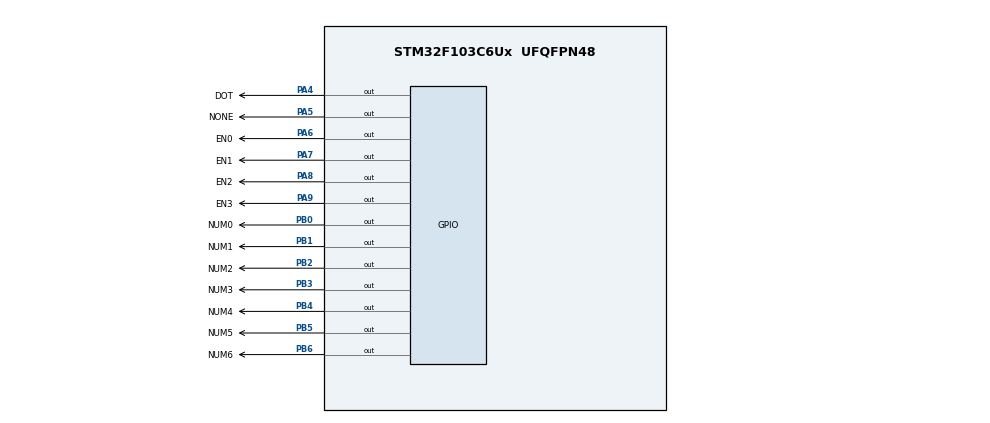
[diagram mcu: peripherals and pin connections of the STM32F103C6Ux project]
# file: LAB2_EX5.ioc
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Mcu.Family=STM32F1
Mcu.Name=STM32F103C6Ux
Mcu.Package=UFQFPN48
NVIC.PriorityGroup=NVIC_PRIORITYGROUP_4
NVIC.TIM2_IRQn=true\:0\:0\:false\:false\:true\:true\:true
PA4.GPIO_Label=DOT
PA4.Signal=GPIO_Output
PA5.GPIO_Label=NONE
PA5.Signal=GPIO_Output
PA6.GPIO_Label=EN0
PA6.Signal=GPIO_Output
PA7.GPIO_Label=EN1
PA7.Signal=GPIO_Output
PA8.GPIO_Label=EN2
PA8.Signal=GPIO_Output
PA9.GPIO_Label=EN3
PA9.Signal=GPIO_Output
PB0.GPIO_Label=NUM0
PB0.Signal=GPIO_Output
PB1.GPIO_Label=NUM1
PB1.Signal=GPIO_Output
PB2.GPIO_Label=NUM2
PB2.Signal=GPIO_Output
PB3.GPIO_Label=NUM3
PB3.Signal=GPIO_Output
PB4.GPIO_Label=NUM4
PB4.Signal=GPIO_Output
PB5.GPIO_Label=NUM5
PB5.Signal=GPIO_Output
PB6.GPIO_Label=NUM6
PB6.Signal=GPIO_Output
ProjectManager.HeapSize=0x200
ProjectManager.StackSize=0x400
ProjectManager.TargetToolchain=STM32CubeIDE
RCC.APB1Freq_Value=8000000
RCC.APB2Freq_Value=8000000
TIM2.Period=9
TIM2.Prescaler=7999
VP_SYS_VS_ND.Mode=No_Debug
VP_TIM2_VS_ClockSourceINT.Mode=Internal
board=custom

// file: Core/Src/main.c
/* USER CODE BEGIN Header */
/**
  ******************************************************************************
  * @file           : main.c
  * @brief          : Main program body
  ******************************************************************************
  * @attention
  *
  * <h2><center>&copy; Copyright (c) 2025 STMicroelectronics.
  * All rights reserved.</center></h2>
  *
  * This software component is licensed by ST under BSD 3-Clause license,
  * the "License"; You may not use this file except in compliance with the
  * License. You may obtain a copy of the License at:
  *                        opensource.org/licenses/BSD-3-Clause
  *
  ******************************************************************************
  */
/* USER CODE END Header */
#include "main.h"

/* USER CODE BEGIN PTD */
# define BLINKY_TIME 100
static uint8_t led_blinky = BLINKY_TIME ;
/* USER CODE END PTD */

TIM_HandleTypeDef htim2;

int hour = 23;
int min  = 59;
int second = 55;

// Biến đếm để quét LED 7 đoạn (đổi LED mỗi 500ms)
int state = 0;

// Bộ đếm cho Timer 2 (nếu bạn muốn dùng cho delay khác)
int timer2_counter = 0;

// Biến tần số cho clock hiển thị (nạp lại mỗi lần hết)
#define CLOCK_FREQ 50   // 50 * 10ms = 500ms nếu timer gọi mỗi 10ms
int clock_freq = CLOCK_FREQ;

void SystemClock_Config(void);
static void MX_TIM2_Init(void);
static void MX_GPIO_Init(void);

/* USER CODE BEGIN 0 */

const int MAX_LED = 4;
int index_led = 0;
int led_buffer[4] = {1, 2, 3, 4};

void updateClockBuffer(void ){
led_buffer [0] = min % 10;
led_buffer [1] = min / 10;
led_buffer [2] = hour % 10;
led_buffer [3] = hour / 10;
}

void display7SEG(int num) {

	HAL_GPIO_WritePin (GPIOB , NUM0_Pin | NUM1_Pin | NUM2_Pin| NUM3_Pin | NUM4_Pin | NUM5_Pin | NUM6_Pin , SET );

    switch (num) {
        case 0:
            HAL_GPIO_WritePin(GPIOB, NUM0_Pin|NUM1_Pin|NUM2_Pin|NUM3_Pin|NUM4_Pin|NUM5_Pin, GPIO_PIN_RESET);
            HAL_GPIO_WritePin(GPIOB, NUM6_Pin, GPIO_PIN_SET);
            break;
        case 1:
            HAL_GPIO_WritePin(GPIOB, NUM0_Pin, GPIO_PIN_SET);
            HAL_GPIO_WritePin(GPIOB, NUM1_Pin|NUM2_Pin, GPIO_PIN_RESET);
            HAL_GPIO_WritePin(GPIOB, NUM3_Pin|NUM4_Pin|NUM5_Pin|NUM6_Pin, GPIO_PIN_SET);
            break;
        case 2:
            HAL_GPIO_WritePin(GPIOB, NUM0_Pin|NUM1_Pin|NUM3_Pin|NUM4_Pin|NUM6_Pin, GPIO_PIN_RESET);
            HAL_GPIO_WritePin(GPIOB, NUM2_Pin|NUM5_Pin, GPIO_PIN_SET);
            break;
        case 3:
            HAL_GPIO_WritePin(GPIOB, NUM0_Pin|NUM1_Pin|NUM2_Pin|NUM3_Pin|NUM6_Pin, GPIO_PIN_RESET);
            HAL_GPIO_WritePin(GPIOB, NUM4_Pin|NUM5_Pin, GPIO_PIN_SET);
            break;
        case 4:
            HAL_GPIO_WritePin(GPIOB, NUM1_Pin|NUM2_Pin|NUM5_Pin|NUM6_Pin, GPIO_PIN_RESET);
            HAL_GPIO_WritePin(GPIOB, NUM0_Pin|NUM3_Pin|NUM4_Pin, GPIO_PIN_SET);
            break;
        case 5:
            HAL_GPIO_WritePin(GPIOB, NUM0_Pin|NUM2_Pin|NUM3_Pin|NUM5_Pin|NUM6_Pin, GPIO_PIN_RESET);
            HAL_GPIO_WritePin(GPIOB, NUM1_Pin|NUM4_Pin, GPIO_PIN_SET);
            break;
        case 6:
            HAL_GPIO_WritePin(GPIOB, NUM0_Pin|NUM2_Pin|NUM3_Pin|NUM4_Pin|NUM5_Pin|NUM6_Pin, GPIO_PIN_RESET);
            HAL_GPIO_WritePin(GPIOB, NUM1_Pin, GPIO_PIN_SET);
            break;
        case 7:
            HAL_GPIO_WritePin(GPIOB, NUM0_Pin|NUM1_Pin|NUM2_Pin, GPIO_PIN_RESET);
            HAL_GPIO_WritePin(GPIOB, NUM3_Pin|NUM4_Pin|NUM5_Pin|NUM6_Pin, GPIO_PIN_SET);
            break;
        case 8:
            HAL_GPIO_WritePin(GPIOB, NUM0_Pin|NUM1_Pin|NUM2_Pin|NUM3_Pin|NUM4_Pin|NUM5_Pin|NUM6_Pin, GPIO_PIN_RESET);
            break;
        case 9:
            HAL_GPIO_WritePin(GPIOB, NUM0_Pin|NUM1_Pin|NUM2_Pin|NUM3_Pin|NUM5_Pin|NUM6_Pin, GPIO_PIN_RESET);
            HAL_GPIO_WritePin(GPIOB, NUM4_Pin, GPIO_PIN_SET);
            break;
        default:
            break;
    }
}

void update7SEG(int index) {
    switch (index) {
        case 0:
            display7SEG(led_buffer[3]);
            HAL_GPIO_WritePin(GPIOA, EN0_Pin, RESET);
            HAL_GPIO_WritePin(GPIOA, EN1_Pin | EN2_Pin | EN3_Pin, SET);
            break;

        case 1:
            display7SEG(led_buffer[2]);
            HAL_GPIO_WritePin(GPIOA, EN1_Pin, RESET);
            HAL_GPIO_WritePin(GPIOA, EN0_Pin | EN2_Pin | EN3_Pin, SET);
            break;

        case 2:
            display7SEG(led_buffer[1]);
            HAL_GPIO_WritePin(GPIOA, EN2_Pin, RESET);
            HAL_GPIO_WritePin(GPIOA, EN0_Pin | EN1_Pin | EN3_Pin, SET);
            break;

        case 3:
            display7SEG(led_buffer[0]);
            HAL_GPIO_WritePin(GPIOA, EN3_Pin, RESET);
            HAL_GPIO_WritePin(GPIOA, EN0_Pin | EN1_Pin | EN2_Pin, SET);
            break;
    }
}

void setTimer2(int duration) {
    timer2_counter = duration;
}

	void blinkLed(void) {
	    led_blinky--;
	    if (led_blinky <= 0) {
	        led_blinky = BLINKY_TIME;
	        HAL_GPIO_TogglePin(GPIOA, DOT_Pin);
	    }
	}

/* USER CODE END 0 */

int main(void)
{

  /* MCU Configuration--------------------------------------------------------*/

  /* Reset of all peripherals, Initializes the Flash interface and the Systick. */
  HAL_Init();

  /* Configure the system clock */
  SystemClock_Config();

  /* Initialize all configured peripherals */
  MX_TIM2_Init();
  MX_GPIO_Init();
  /* USER CODE BEGIN 2 */
  HAL_TIM_Base_Start_IT(&htim2 );
  setTimer2(50);
  /* USER CODE END 2 */

  /* Infinite loop */
  /* USER CODE BEGIN WHILE */
  updateClockBuffer();
  while (1)
  {
	  second++;
	        if (second >= 60) {
	            second = 0;
	            min++;
	        }
	        if (min >= 60) {
	            min = 0;
	            hour++;
	        }
	        if (hour >= 24) {
	            hour = 0;
	        }

	        updateClockBuffer();
	        HAL_Delay(1000);
	    }
  }

void SystemClock_Config(void)
{
  RCC_OscInitTypeDef RCC_OscInitStruct = {0};
  RCC_ClkInitTypeDef RCC_ClkInitStruct = {0};

  /** Initializes the RCC Oscillators according to the specified parameters
  * in the RCC_OscInitTypeDef structure.
  */
  RCC_OscInitStruct.OscillatorType = RCC_OSCILLATORTYPE_HSI;
  RCC_OscInitStruct.HSIState = RCC_HSI_ON;
  RCC_OscInitStruct.HSICalibrationValue = RCC_HSICALIBRATION_DEFAULT;
  RCC_OscInitStruct.PLL.PLLState = RCC_PLL_NONE;
  if (HAL_RCC_OscConfig(&RCC_OscInitStruct) != HAL_OK)
  {
    Error_Handler();
  }
  /** Initializes the CPU, AHB and APB buses clocks
  */
  RCC_ClkInitStruct.ClockType = RCC_CLOCKTYPE_HCLK|RCC_CLOCKTYPE_SYSCLK
                              |RCC_CLOCKTYPE_PCLK1|RCC_CLOCKTYPE_PCLK2;
  RCC_ClkInitStruct.SYSCLKSource = RCC_SYSCLKSOURCE_HSI;
  RCC_ClkInitStruct.AHBCLKDivider = RCC_SYSCLK_DIV1;
  RCC_ClkInitStruct.APB1CLKDivider = RCC_HCLK_DIV1;
  RCC_ClkInitStruct.APB2CLKDivider = RCC_HCLK_DIV1;

  if (HAL_RCC_ClockConfig(&RCC_ClkInitStruct, FLASH_LATENCY_0) != HAL_OK)
  {
    Error_Handler();
  }
}

static void MX_TIM2_Init(void)
{

  TIM_ClockConfigTypeDef sClockSourceConfig = {0};
  TIM_MasterConfigTypeDef sMasterConfig = {0};

  htim2.Instance = TIM2;
  htim2.Init.Prescaler = 7999;
  htim2.Init.CounterMode = TIM_COUNTERMODE_UP;
  htim2.Init.Period = 9;
  htim2.Init.ClockDivision = TIM_CLOCKDIVISION_DIV1;
  htim2.Init.AutoReloadPreload = TIM_AUTORELOAD_PRELOAD_DISABLE;
  if (HAL_TIM_Base_Init(&htim2) != HAL_OK)
  {
    Error_Handler();
  }
  sClockSourceConfig.ClockSource = TIM_CLOCKSOURCE_INTERNAL;
  if (HAL_TIM_ConfigClockSource(&htim2, &sClockSourceConfig) != HAL_OK)
  {
    Error_Handler();
  }
  sMasterConfig.MasterOutputTrigger = TIM_TRGO_RESET;
  sMasterConfig.MasterSlaveMode = TIM_MASTERSLAVEMODE_DISABLE;
  if (HAL_TIMEx_MasterConfigSynchronization(&htim2, &sMasterConfig) != HAL_OK)
  {
    Error_Handler();
  }

}

static void MX_GPIO_Init(void)
{
  GPIO_InitTypeDef GPIO_InitStruct = {0};

  /* GPIO Ports Clock Enable */
  __HAL_RCC_GPIOA_CLK_ENABLE();
  __HAL_RCC_GPIOB_CLK_ENABLE();

  /*Configure GPIO pin Output Level */
  HAL_GPIO_WritePin(GPIOA, DOT_Pin|NONE_Pin|EN0_Pin|EN1_Pin
                          |EN2_Pin|EN3_Pin, GPIO_PIN_RESET);

  /*Configure GPIO pin Output Level */
  HAL_GPIO_WritePin(GPIOB, NUM0_Pin|NUM1_Pin|NUM2_Pin|NUM3_Pin
                          |NUM4_Pin|NUM5_Pin|NUM6_Pin, GPIO_PIN_RESET);

  /*Configure GPIO pins : DOT_Pin NONE_Pin EN0_Pin EN1_Pin
                           EN2_Pin EN3_Pin */
  GPIO_InitStruct.Pin = DOT_Pin|NONE_Pin|EN0_Pin|EN1_Pin
                          |EN2_Pin|EN3_Pin;
  GPIO_InitStruct.Mode = GPIO_MODE_OUTPUT_PP;
  GPIO_InitStruct.Pull = GPIO_NOPULL;
  GPIO_InitStruct.Speed = GPIO_SPEED_FREQ_LOW;
  HAL_GPIO_Init(GPIOA, &GPIO_InitStruct);

  /*Configure GPIO pins : NUM0_Pin NUM1_Pin NUM2_Pin NUM3_Pin
                           NUM4_Pin NUM5_Pin NUM6_Pin */
  GPIO_InitStruct.Pin = NUM0_Pin|NUM1_Pin|NUM2_Pin|NUM3_Pin
                          |NUM4_Pin|NUM5_Pin|NUM6_Pin;
  GPIO_InitStruct.Mode = GPIO_MODE_OUTPUT_PP;
  GPIO_InitStruct.Pull = GPIO_NOPULL;
  GPIO_InitStruct.Speed = GPIO_SPEED_FREQ_LOW;
  HAL_GPIO_Init(GPIOB, &GPIO_InitStruct);

}

/* USER CODE BEGIN 4 */
int idx = 0;

void HAL_TIM_PeriodElapsedCallback(TIM_HandleTypeDef *htim) {
    if (htim->Instance == TIM2) {
        timer2_counter--;
        if (timer2_counter == 0) {
            setTimer2(25);
            update7SEG(idx++);
            if (idx == 4) idx = 0;
        }
        blinkLed();
    }
}

/* USER CODE END 4 */

void Error_Handler(void)
{
  __disable_irq();
  while (1)
  {
  }
}

/************************ (C) COPYRIGHT STMicroelectronics *****END OF FILE****/
